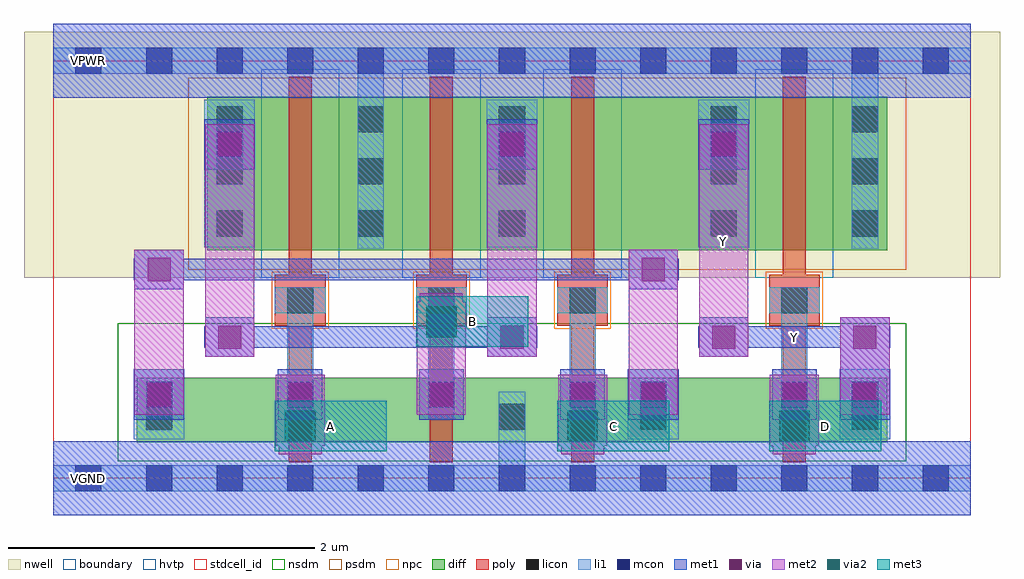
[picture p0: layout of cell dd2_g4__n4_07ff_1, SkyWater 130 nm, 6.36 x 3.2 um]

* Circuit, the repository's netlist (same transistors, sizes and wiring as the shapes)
* Generated reference circuit; dimensions in micrometers.
.subckt dd2_g4__n4_07ff_1 A B C D VGND VNB VPB VPWR Y
XM0 Y D _net1 VNB sky130_fd_pr__nfet_01v8 w=0.420 l=0.150
XM1 _net1 C VGND VNB sky130_fd_pr__nfet_01v8 w=0.420 l=0.150
XM2 _net1 A _net2 VNB sky130_fd_pr__nfet_01v8 w=0.420 l=0.150
XM3 _net2 B VGND VNB sky130_fd_pr__nfet_01v8 w=0.420 l=0.150
XM4 Y D VPWR VPB sky130_fd_pr__pfet_01v8_hvt w=1.000 l=0.150
XM5 Y C _net3 VPB sky130_fd_pr__pfet_01v8_hvt w=1.000 l=0.150
XM6 _net3 A VPWR VPB sky130_fd_pr__pfet_01v8_hvt w=1.000 l=0.150
XM7 _net3 B VPWR VPB sky130_fd_pr__pfet_01v8_hvt w=1.000 l=0.150
.ends dd2_g4__n4_07ff_1

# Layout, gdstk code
import gdstk
lib = gdstk.Library(unit=1e-6, precision=1e-09)
def R(c, l, rs):  # rectangles x0, y0, x1, y1
    for r in rs: c.add(gdstk.rectangle(r[:2], r[2:], *l))
def A(c, l, x, y, w, h, nx, ny, dx, dy):  # array of equal rectangles
    R(c, l, [(x+i*dx, y+j*dy, x+i*dx+w, y+j*dy+h) for i in range(nx) for j in range(ny)])
nwell = (64, 20)
diff = (65, 20)
poly = (66, 20)
licon = (66, 44)
li1 = (67, 20)
mcon = (67, 44)
met1 = (68, 20)
via = (68, 44)
met2 = (69, 20)
via2 = (69, 44)
met3 = (70, 20)
hvtp = (78, 44)
stdcell_id = (81, 4)
nsdm = (93, 44)
psdm = (94, 20)
npc = (95, 20)
boundary = (235, 4)

dd2_g4__n4_07ff_1 = lib.new_cell('dd2_g4__n4_07ff_1')
R(dd2_g4__n4_07ff_1, nwell, [(-0.19,1.305,6.17,2.91)])
R(dd2_g4__n4_07ff_1, diff, [(0.545,0.235,1.84,0.655), (1.84,0.235,2.99,0.655), (2.99,0.235,3.91,0.655), (3.91,0.235,5.435,0.655), (1.005,1.485,2.07,2.485), (2.07,1.485,2.99,2.485), (2.99,1.485,4.37,2.485), (4.37,1.485,5.435,2.485)])
A(dd2_g4__n4_07ff_1, poly, 1.535, 0.105, 0.15, 1.22, 3, 1, 0.92, 0)
A(dd2_g4__n4_07ff_1, poly, 1.445, 0.995, 0.33, 0.33, 3, 1, 0.92, 0)
A(dd2_g4__n4_07ff_1, poly, 1.535, 0.995, 0.15, 1.62, 3, 1, 0.92, 0)
R(dd2_g4__n4_07ff_1, poly, [(4.755,0.105,4.905,1.325), (4.665,0.995,4.995,1.325), (4.755,0.995,4.905,2.615)])
A(dd2_g4__n4_07ff_1, licon, 1.525, 1.075, 0.17, 0.17, 3, 1, 0.92, 0)
A(dd2_g4__n4_07ff_1, licon, 1.065, 1.575, 0.17, 0.17, 3, 3, 0.92, 0.34)
A(dd2_g4__n4_07ff_1, licon, 4.285, 1.575, 0.17, 0.17, 1, 3, 0, 0.34)
A(dd2_g4__n4_07ff_1, licon, 5.205, 1.575, 0.17, 0.17, 1, 3, 0, 0.34)
R(dd2_g4__n4_07ff_1, licon, [(0.605,0.315,0.775,0.485), (2.905,0.315,3.075,0.485), (3.825,0.315,3.995,0.485), (5.205,0.315,5.375,0.485), (4.745,1.075,4.915,1.245)])
A(dd2_g4__n4_07ff_1, li1, 1.525, 0.38, 0.17, 0.33, 3, 1, 0.92, 0)
A(dd2_g4__n4_07ff_1, li1, 1.525, 0.46, 0.17, 0.785, 3, 1, 0.92, 0)
A(dd2_g4__n4_07ff_1, li1, 1.445, 1.075, 0.33, 0.17, 3, 1, 0.92, 0)
R(dd2_g4__n4_07ff_1, li1, [(0,-0.085,5.98,0.085), (2.905,-0.085,3.075,0.565), (0.525,0.255,0.855,0.635), (3.745,0.255,4.075,0.635), (5.125,0.255,5.455,0.635), (0.525,0.38,0.855,0.71), (3.745,0.38,4.075,0.71), (4.745,0.38,4.915,0.71), (5.125,0.38,5.455,0.71), (4.745,0.46,4.915,1.245), (4.665,1.075,4.995,1.245), (1.985,1.495,2.155,2.805), (5.205,1.495,5.375,2.805), (0.985,1.505,1.315,2.465), (2.825,1.505,3.155,2.465), (4.205,1.505,4.535,2.465), (0.985,2.01,1.315,2.34), (2.825,2.01,3.155,2.34), (4.205,2.01,4.535,2.34), (0,2.635,5.98,2.805)])
A(dd2_g4__n4_07ff_1, mcon, 0.145, -0.085, 0.17, 0.17, 13, 2, 0.46, 2.72)
A(dd2_g4__n4_07ff_1, mcon, 0.605, 0.46, 0.17, 0.17, 4, 1, 0.92, 0)
R(dd2_g4__n4_07ff_1, mcon, [(3.825,0.46,3.995,0.63), (4.745,0.46,4.915,0.63), (5.205,0.46,5.375,0.63), (1.065,2.09,1.235,2.26), (2.905,2.09,3.075,2.26), (4.285,2.09,4.455,2.26)])
A(dd2_g4__n4_07ff_1, met1, 1.465, 0.38, 0.29, 0.33, 3, 1, 0.92, 0)
R(dd2_g4__n4_07ff_1, met1, [(0,-0.24,5.98,0.24), (0.525,0.38,0.855,0.71), (3.745,0.38,4.075,0.71), (4.685,0.38,4.975,0.71), (5.125,0.38,5.455,0.71), (5.13,0.545,5.45,0.92), (0.99,0.79,1.31,1.05), (2.83,0.79,3.15,1.05), (4.21,0.79,4.53,1.05), (5.13,0.79,5.45,1.05), (0.985,0.85,3.155,0.99), (4.205,0.85,5.455,0.99), (0.53,1.23,0.85,1.49), (3.75,1.23,4.07,1.49), (0.525,1.29,4.075,1.43), (0.985,2.01,1.315,2.34), (2.825,2.01,3.155,2.34), (4.205,2.01,4.535,2.34), (0,2.48,5.98,2.96)])
A(dd2_g4__n4_07ff_1, via, 0.615, 0.47, 0.15, 0.15, 4, 1, 0.92, 0)
R(dd2_g4__n4_07ff_1, via, [(3.835,0.47,3.985,0.62), (4.755,0.47,4.905,0.62), (5.215,0.47,5.365,0.62), (1.075,0.845,1.225,0.995), (2.915,0.845,3.065,0.995), (4.295,0.845,4.445,0.995), (5.215,0.845,5.365,0.995), (0.615,1.285,0.765,1.435), (3.835,1.285,3.985,1.435), (1.075,2.1,1.225,2.25), (2.915,2.1,3.065,2.25), (4.295,2.1,4.445,2.25)])
R(dd2_g4__n4_07ff_1, met2, [(1.47,0.155,1.75,0.525), (3.31,0.155,3.59,0.525), (4.69,0.155,4.97,0.525), (1.45,0.21,1.77,0.675), (3.29,0.21,3.61,0.675), (4.67,0.21,4.99,0.675), (0.53,0.415,0.85,1.49), (2.37,0.415,2.69,1.15), (3.75,0.415,4.07,1.49), (5.13,0.415,5.45,1.05), (0.99,0.79,1.31,1.05), (0.99,0.79,1.31,2.305), (2.83,0.79,3.15,1.05), (2.83,0.79,3.15,2.305), (4.21,0.79,4.53,1.05), (4.21,0.79,4.53,2.305), (5.13,0.79,5.45,1.05), (2.39,0.835,2.67,1.205), (0.53,1.23,0.85,1.49), (3.75,1.23,4.07,1.49)])
R(dd2_g4__n4_07ff_1, via2, [(1.51,0.24,1.71,0.44), (3.35,0.24,3.55,0.44), (4.73,0.24,4.93,0.44), (2.43,0.92,2.63,1.12)])
R(dd2_g4__n4_07ff_1, met3, [(1.445,0.175,2.175,0.505), (1.445,0.175,1.775,0.505), (3.285,0.175,4.015,0.505), (3.285,0.175,3.615,0.505), (4.665,0.175,5.395,0.505), (4.665,0.175,4.995,0.505), (2.365,0.855,3.095,1.185), (2.365,0.855,2.695,1.185)])
A(dd2_g4__n4_07ff_1, hvtp, 1.355, 1.305, 0.51, 1.36, 3, 1, 0.92, 0)
R(dd2_g4__n4_07ff_1, hvtp, [(4.575,1.305,5.085,2.665)])
R(dd2_g4__n4_07ff_1, stdcell_id, [(0,0,5.98,2.72)])
R(dd2_g4__n4_07ff_1, nsdm, [(0.42,0.11,5.56,1.01)])
R(dd2_g4__n4_07ff_1, psdm, [(0.88,1.36,5.56,2.61)])
A(dd2_g4__n4_07ff_1, npc, 1.425, 0.975, 0.37, 0.37, 3, 1, 0.92, 0)
R(dd2_g4__n4_07ff_1, npc, [(4.645,0.975,5.015,1.345)])
R(dd2_g4__n4_07ff_1, boundary, [(0,0,5.98,2.72)])
dd2_g4__n4_07ff_1.add(gdstk.Label('VGND', (0.23,0), layer=68, texttype=5))
dd2_g4__n4_07ff_1.add(gdstk.Label('VPWR', (0.23,2.72), layer=68, texttype=5))
dd2_g4__n4_07ff_1.add(gdstk.Label('Y', (4.83,0.92), layer=68, texttype=5))
dd2_g4__n4_07ff_1.add(gdstk.Label('Y', (4.37,1.545), layer=69, texttype=5))
dd2_g4__n4_07ff_1.add(gdstk.Label('VPB', (0.23,2.72), layer=64, texttype=5))
dd2_g4__n4_07ff_1.add(gdstk.Label('VNB', (0.23,0), layer=64, texttype=59))
dd2_g4__n4_07ff_1.add(gdstk.Label('A', (1.81,0.34), layer=70, texttype=5))
dd2_g4__n4_07ff_1.add(gdstk.Label('B', (2.73,1.02), layer=70, texttype=5))
dd2_g4__n4_07ff_1.add(gdstk.Label('C', (3.65,0.34), layer=70, texttype=5))
dd2_g4__n4_07ff_1.add(gdstk.Label('D', (5.03,0.34), layer=70, texttype=5))

lib.write_gds('dd2_g4__n4_07ff_1.gds')
